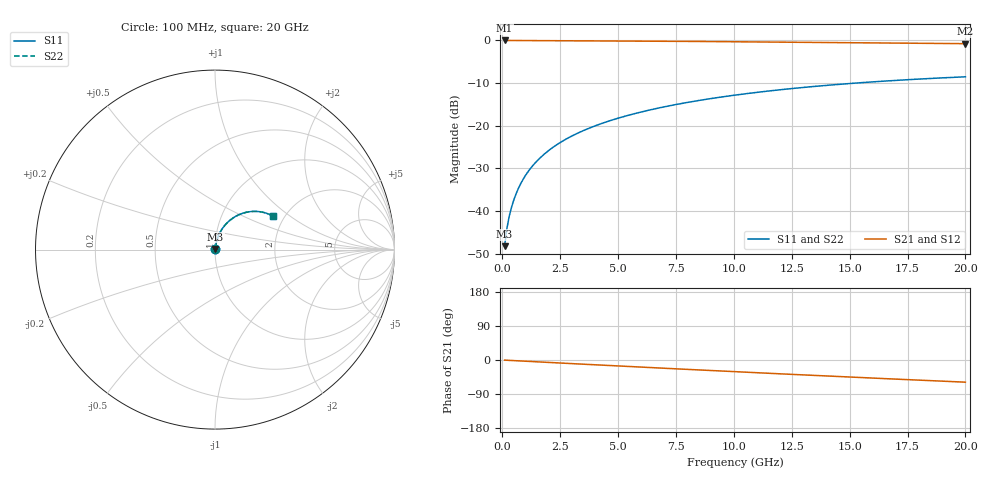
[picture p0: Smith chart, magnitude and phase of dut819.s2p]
! Touchstone file exported from HFSS 2026.1.0
!  File:  C:/ffzhzh/LocalFiles/Ansys_Project_Files/temp_train_BSMRDL_819_1783170030_18472.aedt
!  Generated:  09:01:53 PM Jul  4, 2026
!  Design:  BSMRDL
!  Project:  temp_train_BSMRDL_819_1783170030_18472
! Variables:
!  h_bsmrdl = 5.07um
!  h_ox = 20um
!  h_rdl = 5um
!  h_sub = 80um
!  h_tmrdl = 5um
!  h_tsv = 80um
!  h_via = 3um
!  l_bsmrdl = 961.42um
!  l_sub = 1361.42um
!  l_tmrdl = 200um
!  m_sub = 200um
!  pitch = 52.31um
!  r_tsv = 6um
!  s_tmrdl = 10um
!  w_bsmrdl = 29.84um
!  w_sub = 500um
!  w_tmrdl = 12um
!  x_tsv_center1 = 206um
!  x_tsv_center2 = 1197.26um
!  x_tsv_center3 = 1409.26um
!  x_tsv_center4 = 2400.52um
!  x_tsv_center5 = 2612.52um
!  x_tsv_center6 = 3603.78um
# GHz S MA R 50.000000
! Terminal data exported
! Port[1] = BSM_RDL1_1_T1
! Port[2] = BSM_RDL1_1_T2
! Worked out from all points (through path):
!   200 points, 100 MHz to 20 GHz, reference 50 ohm
!   highest |S21| = -0.02 dB at 100 MHz (marker M1); lowest = -0.8 dB at 20 GHz (marker M2)
!   group delay of S21, straight-line fit = 8.12 ps
!   lowest |S11| = -48.2 dB at 100 MHz (marker M3), VSWR 1.01, Z = 50.3 + j0.293 ohm
!   |S11| at or under -10 dB: start of sweep to 15.28 GHz
!   |S22| runs from -48.2 to -8.5 dB; largest |S21 - S12| = 2.4e-14
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0.1  0.003878 48.8  0.9975 -0.3  0.9975 -0.3  0.003878 48.8
! Gamma 0 0 0 0
! Port Impedance 50 0 50 0
0.2  0.006271 62.7  0.9972 -0.7  0.9972 -0.7  0.006271 62.7
0.3  0.008684 68.8  0.997 -1.0  0.997 -1.0  0.008684 68.8
0.4  0.01111 72.4  0.9968 -1.3  0.9968 -1.3  0.01111 72.4
0.5  0.01357 74.7  0.9967 -1.6  0.9967 -1.6  0.01357 74.7
0.7  0.01855 77.3  0.9965 -2.3  0.9965 -2.3  0.01855 77.3
0.9  0.02357 78.6  0.9963 -2.9  0.9963 -2.9  0.02357 78.6
1.1  0.0286 79.2  0.996 -3.5  0.996 -3.5  0.0286 79.2
1.5  0.03867 79.4  0.9954 -4.8  0.9954 -4.8  0.03867 79.4
1.8  0.04617 79.1  0.9948 -5.8  0.9948 -5.8  0.04617 79.1
2.1  0.05363 78.5  0.9941 -6.7  0.9941 -6.7  0.05363 78.5
2.7  0.06836 77.2  0.9926 -8.6  0.9926 -8.6  0.06836 77.2
3.5  0.08761 75.1  0.9903 -11.1  0.9903 -11.1  0.0876 75.1
4.2  0.1041 73.1  0.988 -13.3  0.988 -13.3  0.1041 73.1
5  0.1225 70.9  0.9852 -15.7  0.9852 -15.7  0.1225 70.9
5.9  0.1426 68.3  0.9817 -18.5  0.9817 -18.5  0.1426 68.3
6.8  0.1623 65.8  0.9781 -21.2  0.9781 -21.2  0.1623 65.8
8.3  0.1937 61.5  0.9716 -25.7  0.9716 -25.7  0.1937 61.5
10.1  0.2292 56.5  0.9631 -31.0  0.9631 -31.0  0.2292 56.5
13.4  0.2874 47.3  0.9465 -40.5  0.9465 -40.5  0.2874 47.3
16.7  0.3358 38.4  0.93 -49.6  0.93 -49.6  0.3358 38.4
20  0.3742 29.8  0.915 -58.5  0.915 -58.5  0.3741 29.8
